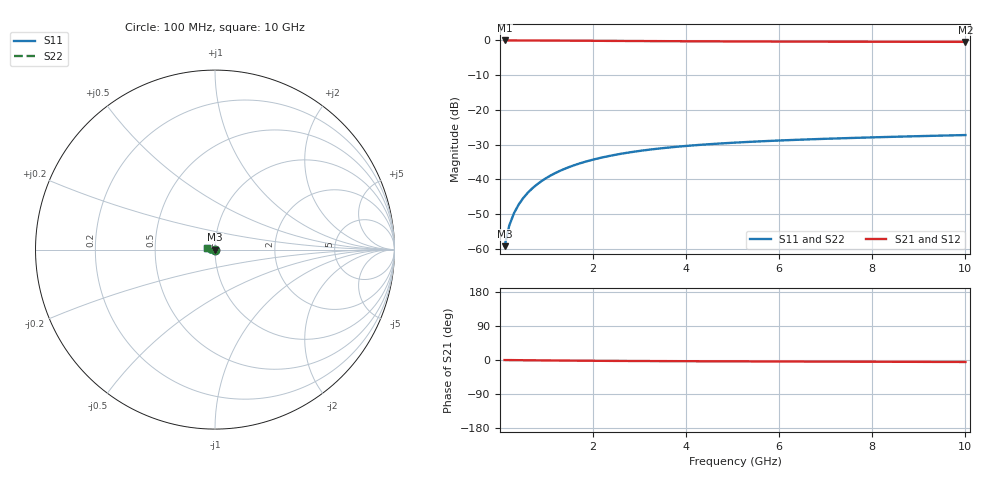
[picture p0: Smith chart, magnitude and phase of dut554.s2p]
! Touchstone file exported from HFSS 2024.1.0
!  File:  C:/UserFiles/LocalFiles/RDL_TSV_Batchsim/temp_TSV1_554_1779706637.aedt
!  Generated:  07:02:12 PM May 25, 2026
!  Design:  TSV1
!  Project:  temp_TSV1_554_1779706637
!  Setup:  Setup1
!  Solution:  Sweep
! Variables:
!  dtsv = 8.92um
!  hbump = 3um
!  htsv = 81.05um
!  lrdl = 252.1521522um
!  p = 40
!  p1 = 49.44um
!  t = 500um
!  trdl = 3um
!  wrdl = 24.89489489um
# GHz S MA R 50.000000
! Terminal data exported
! Port[1] = TSV22_T1
! Port[2] = TSV22_T2
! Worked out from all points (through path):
!   100 points, 100 MHz to 10 GHz, reference 50 ohm
!   highest |S21| = 0.00 dB at 100 MHz (marker M1); lowest = -0.4 dB at 10 GHz (marker M2)
!   lowest |S11| = -59.3 dB at 100 MHz (marker M3), VSWR 1.00, Z = 50 - j0.108 ohm
!   |S11| at or under -10 dB: start of sweep to end of sweep
!   |S22| runs from -59.3 to -27.3 dB; largest |S21 - S12| = 2.1e-15
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0.1  0.001088 -82.1  0.9998 -0.1  0.9998 -0.1  0.001088 -82.1
! Gamma 0 0 0 0
! Port Impedance 50 0 50 0
0.2  0.002158 -88.6  0.9997 -0.2  0.9997 -0.2  0.002158 -88.6
0.3  0.003233 -92.0  0.9995 -0.4  0.9995 -0.4  0.003233 -92.0
0.4  0.004304 -94.7  0.9992 -0.5  0.9992 -0.5  0.004304 -94.7
0.5  0.005368 -97.0  0.9989 -0.6  0.9989 -0.6  0.005368 -97.0
0.6  0.00642 -99.2  0.9985 -0.7  0.9985 -0.7  0.00642 -99.2
0.7  0.007459 -101.2  0.9981 -0.8  0.9981 -0.8  0.007459 -101.2
0.8  0.008484 -103.2  0.9976 -0.9  0.9976 -0.9  0.008484 -103.2
0.9  0.009492 -105.1  0.997 -1.0  0.997 -1.0  0.009492 -105.1
1.1  0.01145 -108.8  0.9958 -1.2  0.9958 -1.2  0.01145 -108.8
1.4  0.01424 -114.1  0.9937 -1.5  0.9937 -1.5  0.01424 -114.1
1.6  0.01599 -117.5  0.9921 -1.7  0.9921 -1.7  0.01599 -117.5
1.8  0.01764 -120.7  0.9905 -1.9  0.9905 -1.9  0.01764 -120.7
2.1  0.01993 -125.3  0.988 -2.1  0.988 -2.1  0.01993 -125.3
2.5  0.02268 -131.0  0.9846 -2.4  0.9846 -2.4  0.02268 -131.0
2.9  0.02507 -136.3  0.9814 -2.6  0.9814 -2.6  0.02507 -136.3
3.4  0.02765 -142.2  0.9776 -2.9  0.9776 -2.9  0.02765 -142.2
4.2  0.03098 -150.7  0.9724 -3.2  0.9724 -3.2  0.03098 -150.7
5.1  0.03389 -158.7  0.9676 -3.6  0.9676 -3.6  0.03389 -158.7
6.7  0.03773 -170.5  0.9615 -4.1  0.9615 -4.1  0.03773 -170.5
8.4  0.04085 179.5  0.9572 -4.7  0.9572 -4.7  0.04085 179.5
10  0.04339 171.5  0.9545 -5.2  0.9545 -5.2  0.04339 171.5
